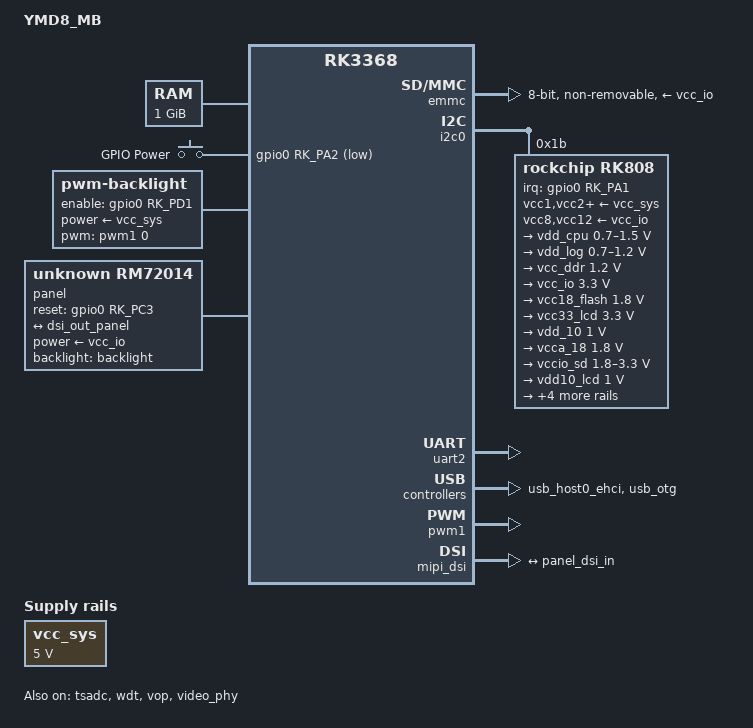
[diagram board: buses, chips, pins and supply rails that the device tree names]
// SPDX-License-Identifier: (GPL-2.0+ OR MIT)
/*
 * Copyright (c) 2025 Weihao Li
 */

/dts-v1/;
#include "rk3368.dtsi"
#include <dt-bindings/input/input.h>

/ {
	model = "YMD8_MB";
	compatible = "rockchip,YMD8_MB", "rockchip,rk3368";

	aliases {
		mmc0 = &emmc;
	};

	chosen {
		stdout-path = "serial2:115200n8";
	};

	memory@0 {
		device_type = "memory";
		reg = <0x0 0x0 0x0 0x40000000>;
	};

	keys: gpio-keys {
		compatible = "gpio-keys";
		pinctrl-names = "default";
		pinctrl-0 = <&pwr_key>;

		power {
			gpios = <&gpio0 RK_PA2 GPIO_ACTIVE_LOW>;
			label = "GPIO Power";
			linux,code = <KEY_POWER>;
			wakeup-source;
		};
	};

	vcc_sys: vcc-sys-regulator {
		compatible = "regulator-fixed";
		regulator-name = "vcc_sys";
		regulator-min-microvolt = <5000000>;
		regulator-max-microvolt = <5000000>;
		regulator-always-on;
		regulator-boot-on;
	};

	backlight: backlight {
		compatible = "pwm-backlight";
		power-supply = <&vcc_sys>;
		enable-gpios = <&gpio0 RK_PD1 GPIO_ACTIVE_HIGH>;
		brightness-levels = <
			  0   1   2   3   4   5   6   7
			  8   9  10  11  12  13  14  15
			 16  17  18  19  20  21  22  23
			 24  25  26  27  28  29  30  31
			 32  33  34  35  36  37  38  39
			 40  41  42  43  44  45  46  47
			 48  49  50  51  52  53  54  55
			 56  57  58  59  60  61  62  63
			 64  65  66  67  68  69  70  71
			 72  73  74  75  76  77  78  79
			 80  81  82  83  84  85  86  87
			 88  89  90  91  92  93  94  95
			 96  97  98  99 100 101 102 103
			104 105 106 107 108 109 110 111
			112 113 114 115 116 117 118 119
			120 121 122 123 124 125 126 127
			128 129 130 131 132 133 134 135
			136 137 138 139 140 141 142 143
			144 145 146 147 148 149 150 151
			152 153 154 155 156 157 158 159
			160 161 162 163 164 165 166 167
			168 169 170 171 172 173 174 175
			176 177 178 179 180 181 182 183
			184 185 186 187 188 189 190 191
			192 193 194 195 196 197 198 199
			200 201 202 203 204 205 206 207
			208 209 210 211 212 213 214 215
			216 217 218 219 220 221 222 223
			224 225 226 227 228 229 230 231
			232 233 234 235 236 237 238 239
			240 241 242 243 244 245 246 247
			248 249 250 251 252 253 254 255>;
		default-brightness-level = <50>;
		pwms = <&pwm1 0 25000 0>;
		pinctrl-names = "default";
		pinctrl-0 = <&pwm1_pin>;
		status = "okay";
	};

	panel: panel {
		compatible = "unknown,rm72014";
		power-supply = <&vcc_io>;
		backlight = <&backlight>;
		reset-gpios = <&gpio0 RK_PC3 GPIO_ACTIVE_HIGH>;
		status = "okay";

		port {
			panel_dsi_in: endpoint {
				remote-endpoint = <&dsi_out_panel>;
			};
		};
	};
};

&emmc {
	status = "okay";
	bus-width = <8>;
	cap-mmc-highspeed;
	clock-frequency = <150000000>;
	mmc-hs200-1_8v;
	no-sdio;
	no-sd;
	non-removable;
	pinctrl-names = "default";
	pinctrl-0 = <&emmc_clk>, <&emmc_cmd>, <&emmc_bus8>;
	vmmc-supply = <&vcc_io>;
	vqmmc-supply = <&vcc18_flash>;
};

&i2c0 {
	status = "okay";

	rk808: pmic@1b {
		compatible = "rockchip,rk808";
		reg = <0x1b>;
		pinctrl-names = "default";
		pinctrl-0 = <&pmic_int>, <&pmic_sleep>;
		interrupt-parent = <&gpio0>;
		interrupts = <RK_PA1 IRQ_TYPE_LEVEL_LOW>;
		rockchip,system-power-controller;
		vcc1-supply = <&vcc_sys>;
		vcc2-supply = <&vcc_sys>;
		vcc3-supply = <&vcc_sys>;
		vcc4-supply = <&vcc_sys>;
		vcc6-supply = <&vcc_sys>;
		vcc7-supply = <&vcc_sys>;
		vcc8-supply = <&vcc_io>;
		vcc9-supply = <&vcc_sys>;
		vcc10-supply = <&vcc_sys>;
		vcc11-supply = <&vcc_sys>;
		vcc12-supply = <&vcc_io>;
		clock-output-names = "xin32k", "rk808-clkout2";
		#clock-cells = <1>;

		regulators {
			vdd_cpu: DCDC_REG1 {
				regulator-always-on;
				regulator-boot-on;
				regulator-min-microvolt = <700000>;
				regulator-max-microvolt = <1500000>;
				regulator-name = "vdd_cpu";
			};

			vdd_log: DCDC_REG2 {
				regulator-always-on;
				regulator-boot-on;
				regulator-min-microvolt = <700000>;
				regulator-max-microvolt = <1200000>;
				regulator-name = "vdd_log";
			};

			vcc_ddr: DCDC_REG3 {
				regulator-always-on;
				regulator-boot-on;
				regulator-min-microvolt = <1200000>;
				regulator-max-microvolt = <1200000>;
				regulator-name = "vcc_ddr";
			};

			vcc_io: DCDC_REG4 {
				regulator-always-on;
				regulator-boot-on;
				regulator-min-microvolt = <3300000>;
				regulator-max-microvolt = <3300000>;
				regulator-name = "vcc_io";
			};

			vcc18_flash: LDO_REG1 {
				regulator-always-on;
				regulator-boot-on;
				regulator-min-microvolt = <1800000>;
				regulator-max-microvolt = <1800000>;
				regulator-name = "vcc18_flash";
			};

			vcc33_lcd: LDO_REG2 {
				regulator-always-on;
				regulator-boot-on;
				regulator-min-microvolt = <3300000>;
				regulator-max-microvolt = <3300000>;
				regulator-name = "vcca_33";
			};

			vdd_10: LDO_REG3 {
				regulator-always-on;
				regulator-boot-on;
				regulator-min-microvolt = <1000000>;
				regulator-max-microvolt = <1000000>;
				regulator-name = "vdd_10";
			};

			vcca_18: LDO_REG4 {
				regulator-boot-on;
				regulator-min-microvolt = <1800000>;
				regulator-max-microvolt = <1800000>;
				regulator-name = "vcca_18";
			};

			vccio_sd: LDO_REG5 {
				regulator-always-on;
				regulator-boot-on;
				regulator-min-microvolt = <1800000>;
				regulator-max-microvolt = <3300000>;
				regulator-name = "vccio_sd";
			};

			vdd10_lcd: LDO_REG6 {
				regulator-always-on;
				regulator-boot-on;
				regulator-min-microvolt = <1000000>;
				regulator-max-microvolt = <1000000>;
				regulator-name = "vdd10_lcd";
			};

			vcc_18: LDO_REG7 {
				regulator-always-on;
				regulator-boot-on;
				regulator-min-microvolt = <1800000>;
				regulator-max-microvolt = <1800000>;
				regulator-name = "vcc_18";
			};

			vcc18_lcd: LDO_REG8 {
				regulator-always-on;
				regulator-boot-on;
				regulator-min-microvolt = <1800000>;
				regulator-max-microvolt = <1800000>;
				regulator-name = "vcc18_lcd";
			};

			vcc_sd: SWITCH_REG1 {
				regulator-name = "vcc_sd";
			};

			vcc_lan: SWITCH_REG2 {
				regulator-always-on;
				regulator-boot-on;
				regulator-name = "vcc_lan";
			};
		};
	};
};

&pinctrl {
	keys {
		pwr_key: pwr-key {
			rockchip,pins = <0 RK_PA2 RK_FUNC_GPIO &pcfg_pull_none>;
		};
	};

	pmic {
		pmic_sleep: pmic-sleep {
			rockchip,pins = <0 RK_PA0 2 &pcfg_pull_none>;
		};

		pmic_int: pmic-int {
			rockchip,pins = <0 RK_PA1 RK_FUNC_GPIO &pcfg_pull_up>;
		};
	};
};

&tsadc {
	status = "okay";
	rockchip,hw-tshut-mode = <0>; /* CRU */
	rockchip,hw-tshut-polarity = <1>; /* high */
};

&uart2 {
	status = "okay";
};

&usb_host0_ehci {
	status = "okay";
};

&usb_otg {
	status = "okay";
};

&wdt {
	status = "okay";
};

&pwm1 {
	status = "okay";
};

&vop_mmu {
	status = "okay";
};

&vop {
	status = "okay";
};

&mipi_dsi {
	status = "okay";

	ports {
		mipi_out: port@1 {
			reg = <1>;
			#address-cells = <1>;
			#size-cells = <0>;
			dsi_out_panel: endpoint {
				remote-endpoint = <&panel_dsi_in>;
			};
		};
	};
};

&video_phy {
	status = "okay";
};
